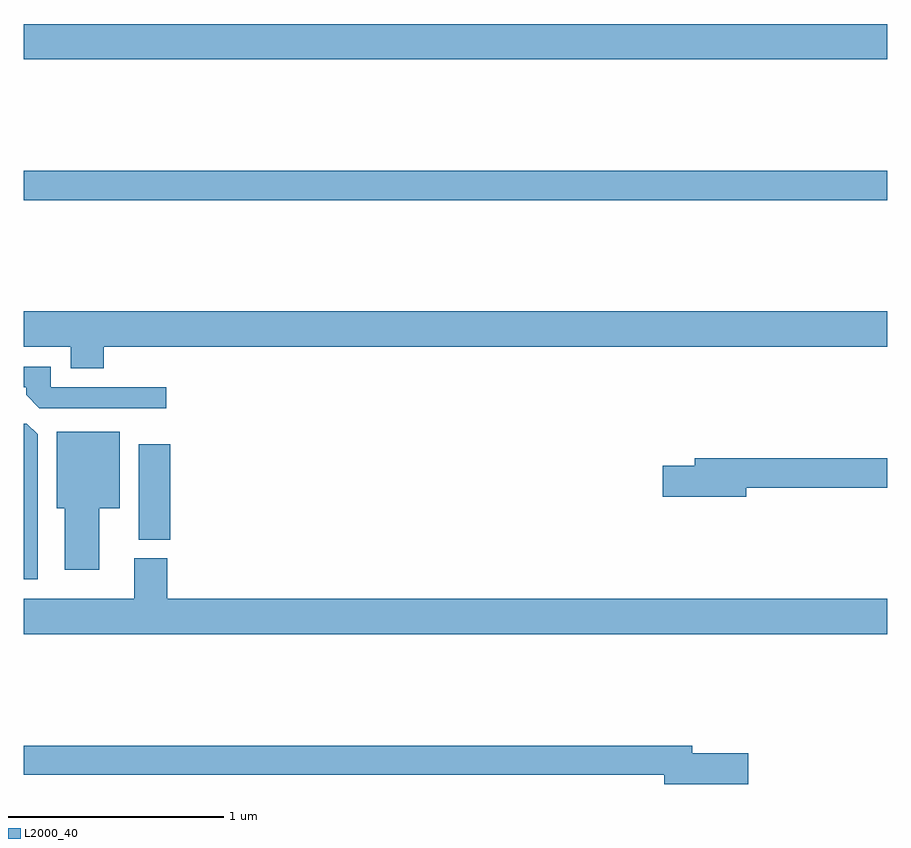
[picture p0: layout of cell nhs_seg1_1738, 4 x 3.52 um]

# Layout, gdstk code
import gdstk
lib = gdstk.Library(unit=1e-6, precision=1e-09)
def R(c, l, rs):  # rectangles x0, y0, x1, y1
    for r in rs: c.add(gdstk.rectangle(r[:2], r[2:], *l))
def P(c, l, *ps):  # polygons
    for p in ps: c.add(gdstk.Polygon(p, *l))
L2000_40 = (2000, 40)

nhs_seg1_1738 = lib.new_cell('nhs_seg1_1738')
R(nhs_seg1_1738, L2000_40, [(205.532,573.481,205.679,573.925), (205,575.056,209,575.192), (205,575.708,209,575.872)])
P(nhs_seg1_1738, L2000_40, [(205.37,574.376),(209,574.376),(209,574.54),(205,574.54),(205,574.376),(205.217,574.376),(205.217,574.277),(205.37,574.277)],
  [(205.66,574.188),(205.125,574.188),(205.125,574.284),(205,574.284),(205,574.188),(205.01,574.188),(205.01,574.154),(205.071,574.092),(205.66,574.092)],
  [(205.063,573.971),(205.014,574.02),(205,574.02),(205,573.299),(205.063,573.299)],
  [(205.348,573.629),(205.444,573.629),(205.444,573.982),(205.151,573.982),(205.151,573.629),(205.19,573.629),(205.19,573.342),(205.348,573.342)],
  [(208.348,573.724),(209,573.724),(209,573.86),(208.109,573.86),(208.109,573.824),(207.96,573.824),(207.96,573.682),(208.348,573.682)],
  [(209,573.208),(205.664,573.208),(205.664,573.396),(205.511,573.396),(205.511,573.208),(205,573.208),(205,573.044),(209,573.044)],
  [(208.357,572.492),(208.096,572.492),(208.096,572.528),(205,572.528),(205,572.392),(207.968,572.392),(207.968,572.35),(208.357,572.35)])

lib.write_gds('nhs_seg1_1738.gds')
